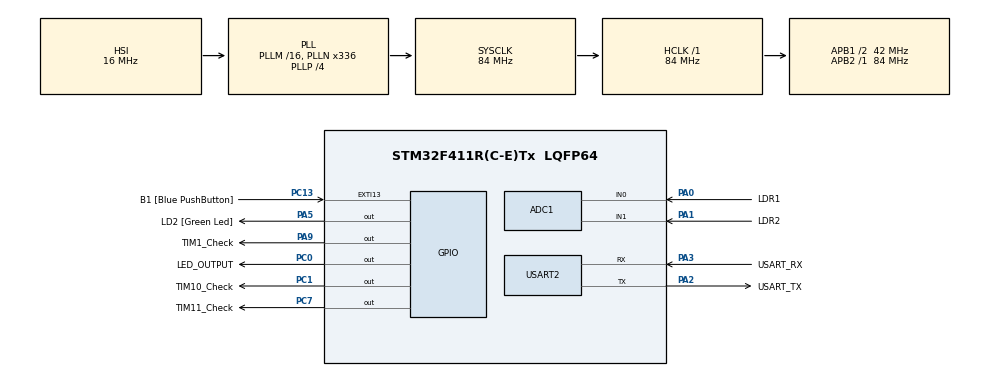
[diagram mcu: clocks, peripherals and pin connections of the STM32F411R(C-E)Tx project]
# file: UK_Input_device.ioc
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ADC1.Channel-0\#ChannelRegularConversion=ADC_CHANNEL_0
ADC1.Channel-1\#ChannelRegularConversion=ADC_CHANNEL_1
ADC1.ContinuousConvMode=ENABLE
ADC1.DMAContinuousRequests=ENABLE
ADC1.DiscontinuousConvMode=DISABLE
ADC1.NbrOfConversion=2
ADC1.NbrOfConversionFlag=1
ADC1.Rank-0\#ChannelRegularConversion=1
ADC1.Rank-1\#ChannelRegularConversion=2
ADC1.SamplingTime-0\#ChannelRegularConversion=ADC_SAMPLETIME_144CYCLES
ADC1.SamplingTime-1\#ChannelRegularConversion=ADC_SAMPLETIME_144CYCLES
ADC1.ScanConvMode=ENABLE
ADC1.master=1
Dma.ADC1.0.Direction=DMA_PERIPH_TO_MEMORY
Dma.ADC1.0.FIFOMode=DMA_FIFOMODE_DISABLE
Dma.ADC1.0.Instance=DMA2_Stream0
Dma.ADC1.0.MemDataAlignment=DMA_MDATAALIGN_HALFWORD
Dma.ADC1.0.MemInc=DMA_MINC_ENABLE
Dma.ADC1.0.Mode=DMA_CIRCULAR
Dma.ADC1.0.PeriphDataAlignment=DMA_PDATAALIGN_HALFWORD
Dma.ADC1.0.PeriphInc=DMA_PINC_DISABLE
Dma.ADC1.0.Priority=DMA_PRIORITY_LOW
Dma.Request0=ADC1
Mcu.Family=STM32F4
Mcu.Name=STM32F411R(C-E)Tx
Mcu.Package=LQFP64
NVIC.DMA2_Stream0_IRQn=true\:0\:0\:false\:false\:true\:false\:true\:true
NVIC.PriorityGroup=NVIC_PRIORITYGROUP_0
NVIC.TIM1_TRG_COM_TIM11_IRQn=true\:0\:0\:false\:false\:true\:true\:true\:true
NVIC.TIM1_UP_TIM10_IRQn=true\:0\:0\:false\:false\:true\:true\:true\:true
PA0-WKUP.GPIO_Label=LDR1
PA0-WKUP.Signal=ADCx_IN0
PA1.GPIO_Label=LDR2
PA1.Signal=ADCx_IN1
PA13.GPIO_Label=TMS
PA13.Signal=SYS_JTMS-SWDIO
PA14.GPIO_Label=TCK
PA14.Signal=SYS_JTCK-SWCLK
PA2.GPIO_Label=USART_TX
PA2.Mode=Asynchronous
PA2.Signal=USART2_TX
PA3.GPIO_Label=USART_RX
PA3.Mode=Asynchronous
PA3.Signal=USART2_RX
PA5.GPIO_Label=LD2 [Green Led]
PA5.Signal=GPIO_Output
PA9.GPIO_Label=TIM1_Check
PA9.Signal=GPIO_Output
PB3.GPIO_Label=SWO
PB3.Signal=SYS_JTDO-SWO
PC0.GPIO_Label=LED_OUTPUT
PC0.GPIO_PuPd=GPIO_PULLUP
PC0.Signal=GPIO_Output
PC1.GPIO_Label=TIM10_Check
PC1.Signal=GPIO_Output
PC13-ANTI_TAMP.GPIO_Label=B1 [Blue PushButton]
PC13-ANTI_TAMP.GPIO_ModeDefaultEXTI=GPIO_MODE_IT_FALLING
PC13-ANTI_TAMP.Signal=GPXTI13
PC14-OSC32_IN.Signal=RCC_OSC32_IN
PC15-OSC32_OUT.Signal=RCC_OSC32_OUT
PC7.GPIO_Label=TIM11_Check
PC7.Signal=GPIO_Output
PH0\ -\ OSC_IN.Signal=RCC_OSC_IN
PH1\ -\ OSC_OUT.Signal=RCC_OSC_OUT
ProjectManager.HeapSize=0x200
ProjectManager.StackSize=0x400
ProjectManager.TargetToolchain=STM32CubeIDE
RCC.48MHZClocksFreq_Value=84000000
RCC.AHBFreq_Value=84000000
RCC.APB1CLKDivider=RCC_HCLK_DIV2
RCC.APB1Freq_Value=42000000
RCC.APB1TimFreq_Value=84000000
RCC.APB2Freq_Value=84000000
RCC.APB2TimFreq_Value=84000000
RCC.CortexFreq_Value=84000000
RCC.FLatency-AdvancedSettings=FLASH_LATENCY_2
RCC.HCLKFreq_Value=84000000
RCC.HSE_VALUE=8000000
RCC.HSI_VALUE=16000000
RCC.LSE_VALUE=32768
RCC.PLLN=336
RCC.PLLP=RCC_PLLP_DIV4
RCC.SYSCLKFreq_VALUE=84000000
RCC.SYSCLKSource=RCC_SYSCLKSOURCE_PLLCLK
RCC.VCOOutputFreq_Value=336000000
SH.ADCx_IN0.0=ADC1_IN0,IN0
SH.ADCx_IN1.0=ADC1_IN1,IN1
TIM1.Period=50
TIM1.Prescaler=8400
TIM10.Period=100
TIM10.Prescaler=8400
TIM11.Period=20
TIM11.Prescaler=8400
USART2.VirtualMode=VM_ASYNC
VP_TIM10_VS_ClockSourceINT.Mode=Enable_Timer
VP_TIM11_VS_ClockSourceINT.Mode=Enable_Timer
VP_TIM1_VS_ClockSourceINT.Mode=Internal
board=NUCLEO-F411RE

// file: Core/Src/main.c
/* USER CODE BEGIN Header */
/**
 ******************************************************************************
 * @file           : main.c
 * @brief          : Main program body
 ******************************************************************************
 * @attention
 *
 * Copyright (c) 2022 STMicroelectronics.
 * All rights reserved.
 *
 * This software is licensed under terms that can be found in the LICENSE file
 * in the root directory of this software component.
 * If no LICENSE file comes with this software, it is provided AS-IS.
 *
 ******************************************************************************
 */
/* USER CODE END Header */
#include "main.h"

/* USER CODE BEGIN Includes */
#include <math.h>
#include <stdio.h>
#include <string.h>
/* USER CODE END Includes */

ADC_HandleTypeDef hadc1;
DMA_HandleTypeDef hdma_adc1;

TIM_HandleTypeDef htim1;
TIM_HandleTypeDef htim10;
TIM_HandleTypeDef htim11;

UART_HandleTypeDef huart2;

/* USER CODE BEGIN PV */
//Gloval Vaiable
#define WINDOW 2

//Sensor variable for ADC_DMA
uint16_t ldr[2] = { 0, };
//Sensor variable
int on1_sum = 0, on2_sum = 0; //when led on
int off1_sum = 0, off2_sum = 0; //when led off
int on1_avg = 0, on2_avg = 0;
int off1_avg = 0, off2_avg = 0;
//force variable
int diff = 0, ldr1dif = 0, ldr2dif = 0;
int min = 0, max = 0;
//Flag variable
short flag_10ms = 0, flag_5ms = 0, flag_1ms = 0, odd = 0;
int count = 0;
/* USER CODE END PV */

void SystemClock_Config(void);
static void MX_GPIO_Init(void);
static void MX_DMA_Init(void);
static void MX_ADC1_Init(void);
static void MX_TIM10_Init(void);
static void MX_TIM11_Init(void);
static void MX_USART2_UART_Init(void);
static void MX_TIM1_Init(void);

/* USER CODE BEGIN 0 */
static void tx_com(uint8_t *tx_buffer, uint16_t len) {
	HAL_UART_Transmit(&huart2, tx_buffer, len, 100);
}
static uint8_t tx_buffer[100];

void HAL_TIM_PeriodElapsedCallback(TIM_HandleTypeDef *htim) {
	if (htim->Instance == TIM10) //10ms Timer. If elapsed 10ms this timer change status of LED
	{
		flag_10ms = 1;
		/*if(HAL_GPIO_ReadPin(GPIOC, TIM10_Check_Pin)==0){
		 HAL_GPIO_WritePin(GPIOC, TIM10_Check_Pin, SET);
		 }else{
		 HAL_GPIO_WritePin(GPIOC, TIM10_Check_Pin, RESET);
		 }*/ //Test loop for timer period
	}

	if (htim->Instance == TIM1) //5ms timer
	{
		odd++; //identify odd
		if (odd % 2 == 1) {
			flag_5ms = 1;
			odd = 0;
		}
		/*if (HAL_GPIO_ReadPin(GPIOA, TIM1_Check_Pin) == 0) {
		 HAL_GPIO_WritePin(GPIOA, TIM1_Check_Pin, SET);
		 } else {
		 HAL_GPIO_WritePin(GPIOA, TIM1_Check_Pin, RESET);
		 } */ //Test loop for timer period
	}
	if (htim->Instance == TIM11) //1ms timer
	{
		flag_1ms = 1;
		/*		if(HAL_GPIO_ReadPin(GPIOC, TIM11_Check_Pin)==0){
		 HAL_GPIO_WritePin(GPIOC, TIM11_Check_Pin, SET);
		 }else{
		 HAL_GPIO_WritePin(GPIOC, TIM11_Check_Pin, RESET);
		 }*/ //Test loop for timer period
	}
}
/* USER CODE END 0 */

int main(void) {

	/* MCU Configuration--------------------------------------------------------*/

	/* Reset of all peripherals, Initializes the Flash interface and the Systick. */
	HAL_Init();

	/* Configure the system clock */
	SystemClock_Config();

	/* Initialize all configured peripherals */
	MX_GPIO_Init();
	MX_DMA_Init();
	MX_ADC1_Init();
	MX_TIM10_Init();
	MX_TIM11_Init();
	MX_USART2_UART_Init();
	MX_TIM1_Init();
	/* USER CODE BEGIN 2 */
	HAL_ADC_Start_DMA(&hadc1, ldr, 2);
//TIM Init
	HAL_TIM_Base_Start_IT(&htim10);
	HAL_TIM_Base_Start_IT(&htim1);
	HAL_TIM_Base_Start_IT(&htim11);
	min = diff;
	max = diff;
	/* USER CODE END 2 */

	/* Infinite loop */
	/* USER CODE BEGIN WHILE */
	while (1) {
		if (flag_10ms == 1) {
			flag_10ms = 0;
			on1_avg = on1_sum / WINDOW;
			on2_avg = on2_sum / WINDOW;
			off1_avg = off1_sum / WINDOW;
			off2_avg = off2_sum / WINDOW;
			if (HAL_GPIO_ReadPin(GPIOC, LED_OUTPUT_Pin) == 1) {
				count = 0;
				HAL_GPIO_WritePin(GPIOC, LED_OUTPUT_Pin, RESET);
				off1_sum = 0;
				off2_sum = 0;
			} else {
				count = 0;
				HAL_GPIO_WritePin(GPIOC, LED_OUTPUT_Pin, SET);
				on1_sum = 0;
				on2_sum = 0;
			}
			ldr1dif = on1_avg - off1_avg;
			ldr2dif = on2_avg - off2_avg;
			diff = sqrt(pow(ldr1dif, 2) + pow(ldr2dif, 2));
			max = max < diff ? diff : max;
			min = min > diff ? diff : min;
			sprintf((char*) tx_buffer, "%d,%d,%d,%d \r\n", on1_avg, off1_avg,
					on2_avg, off2_avg);
			tx_com(tx_buffer, strlen((char const*) tx_buffer));
		}
		if (flag_5ms == 1 && flag_1ms == 1) {
			if (count < WINDOW) {
				if (HAL_GPIO_ReadPin(GPIOC, LED_OUTPUT_Pin) == 1) { //count is less than WINDOW if count is upper than WINDOW this loop will not act.
					count++;
					on1_sum += ldr[0];
					on2_sum += ldr[1];
				} else if (HAL_GPIO_ReadPin(GPIOC, LED_OUTPUT_Pin) == 0) {
					count++;
					off1_sum += ldr[0];
					off2_sum += ldr[1];
				}
				flag_1ms = 0;
			} else if (count == WINDOW) { //If reached setting value for count
				flag_5ms = 0;
			}
		}
		/* USER CODE END WHILE */

	}
}

void SystemClock_Config(void) {
	RCC_OscInitTypeDef RCC_OscInitStruct = { 0 };
	RCC_ClkInitTypeDef RCC_ClkInitStruct = { 0 };

	/** Configure the main internal regulator output voltage
	 */
	__HAL_RCC_PWR_CLK_ENABLE();
	__HAL_PWR_VOLTAGESCALING_CONFIG(PWR_REGULATOR_VOLTAGE_SCALE1);

	/** Initializes the RCC Oscillators according to the specified parameters
	 * in the RCC_OscInitTypeDef structure.
	 */
	RCC_OscInitStruct.OscillatorType = RCC_OSCILLATORTYPE_HSI;
	RCC_OscInitStruct.HSIState = RCC_HSI_ON;
	RCC_OscInitStruct.HSICalibrationValue = RCC_HSICALIBRATION_DEFAULT;
	RCC_OscInitStruct.PLL.PLLState = RCC_PLL_ON;
	RCC_OscInitStruct.PLL.PLLSource = RCC_PLLSOURCE_HSI;
	RCC_OscInitStruct.PLL.PLLM = 16;
	RCC_OscInitStruct.PLL.PLLN = 336;
	RCC_OscInitStruct.PLL.PLLP = RCC_PLLP_DIV4;
	RCC_OscInitStruct.PLL.PLLQ = 4;
	if (HAL_RCC_OscConfig(&RCC_OscInitStruct) != HAL_OK) {
		Error_Handler();
	}

	/** Initializes the CPU, AHB and APB buses clocks
	 */
	RCC_ClkInitStruct.ClockType = RCC_CLOCKTYPE_HCLK | RCC_CLOCKTYPE_SYSCLK
			| RCC_CLOCKTYPE_PCLK1 | RCC_CLOCKTYPE_PCLK2;
	RCC_ClkInitStruct.SYSCLKSource = RCC_SYSCLKSOURCE_PLLCLK;
	RCC_ClkInitStruct.AHBCLKDivider = RCC_SYSCLK_DIV1;
	RCC_ClkInitStruct.APB1CLKDivider = RCC_HCLK_DIV2;
	RCC_ClkInitStruct.APB2CLKDivider = RCC_HCLK_DIV1;

	if (HAL_RCC_ClockConfig(&RCC_ClkInitStruct, FLASH_LATENCY_2) != HAL_OK) {
		Error_Handler();
	}
}

static void MX_ADC1_Init(void) {

	ADC_ChannelConfTypeDef sConfig = { 0 };

	/** Configure the global features of the ADC (Clock, Resolution, Data Alignment and number of conversion)
	 */
	hadc1.Instance = ADC1;
	hadc1.Init.ClockPrescaler = ADC_CLOCK_SYNC_PCLK_DIV4;
	hadc1.Init.Resolution = ADC_RESOLUTION_12B;
	hadc1.Init.ScanConvMode = ENABLE;
	hadc1.Init.ContinuousConvMode = ENABLE;
	hadc1.Init.DiscontinuousConvMode = DISABLE;
	hadc1.Init.ExternalTrigConvEdge = ADC_EXTERNALTRIGCONVEDGE_NONE;
	hadc1.Init.ExternalTrigConv = ADC_SOFTWARE_START;
	hadc1.Init.DataAlign = ADC_DATAALIGN_RIGHT;
	hadc1.Init.NbrOfConversion = 2;
	hadc1.Init.DMAContinuousRequests = ENABLE;
	hadc1.Init.EOCSelection = ADC_EOC_SINGLE_CONV;
	if (HAL_ADC_Init(&hadc1) != HAL_OK) {
		Error_Handler();
	}

	/** Configure for the selected ADC regular channel its corresponding rank in the sequencer and its sample time.
	 */
	sConfig.Channel = ADC_CHANNEL_0;
	sConfig.Rank = 1;
	sConfig.SamplingTime = ADC_SAMPLETIME_144CYCLES;
	if (HAL_ADC_ConfigChannel(&hadc1, &sConfig) != HAL_OK) {
		Error_Handler();
	}

	/** Configure for the selected ADC regular channel its corresponding rank in the sequencer and its sample time.
	 */
	sConfig.Channel = ADC_CHANNEL_1;
	sConfig.Rank = 2;
	if (HAL_ADC_ConfigChannel(&hadc1, &sConfig) != HAL_OK) {
		Error_Handler();
	}

}

static void MX_TIM1_Init(void) {

	TIM_ClockConfigTypeDef sClockSourceConfig = { 0 };
	TIM_MasterConfigTypeDef sMasterConfig = { 0 };

	htim1.Instance = TIM1;
	htim1.Init.Prescaler = 8400;
	htim1.Init.CounterMode = TIM_COUNTERMODE_UP;
	htim1.Init.Period = 50;
	htim1.Init.ClockDivision = TIM_CLOCKDIVISION_DIV1;
	htim1.Init.RepetitionCounter = 0;
	htim1.Init.AutoReloadPreload = TIM_AUTORELOAD_PRELOAD_DISABLE;
	if (HAL_TIM_Base_Init(&htim1) != HAL_OK) {
		Error_Handler();
	}
	sClockSourceConfig.ClockSource = TIM_CLOCKSOURCE_INTERNAL;
	if (HAL_TIM_ConfigClockSource(&htim1, &sClockSourceConfig) != HAL_OK) {
		Error_Handler();
	}
	sMasterConfig.MasterOutputTrigger = TIM_TRGO_RESET;
	sMasterConfig.MasterSlaveMode = TIM_MASTERSLAVEMODE_DISABLE;
	if (HAL_TIMEx_MasterConfigSynchronization(&htim1, &sMasterConfig)
			!= HAL_OK) {
		Error_Handler();
	}

}

static void MX_TIM10_Init(void) {

	htim10.Instance = TIM10;
	htim10.Init.Prescaler = 8400;
	htim10.Init.CounterMode = TIM_COUNTERMODE_UP;
	htim10.Init.Period = 100;
	htim10.Init.ClockDivision = TIM_CLOCKDIVISION_DIV1;
	htim10.Init.AutoReloadPreload = TIM_AUTORELOAD_PRELOAD_DISABLE;
	if (HAL_TIM_Base_Init(&htim10) != HAL_OK) {
		Error_Handler();
	}

}

static void MX_TIM11_Init(void) {

	htim11.Instance = TIM11;
	htim11.Init.Prescaler = 8400;
	htim11.Init.CounterMode = TIM_COUNTERMODE_UP;
	htim11.Init.Period = 20;
	htim11.Init.ClockDivision = TIM_CLOCKDIVISION_DIV1;
	htim11.Init.AutoReloadPreload = TIM_AUTORELOAD_PRELOAD_DISABLE;
	if (HAL_TIM_Base_Init(&htim11) != HAL_OK) {
		Error_Handler();
	}

}

static void MX_USART2_UART_Init(void) {

	huart2.Instance = USART2;
	huart2.Init.BaudRate = 115200;
	huart2.Init.WordLength = UART_WORDLENGTH_8B;
	huart2.Init.StopBits = UART_STOPBITS_1;
	huart2.Init.Parity = UART_PARITY_NONE;
	huart2.Init.Mode = UART_MODE_TX_RX;
	huart2.Init.HwFlowCtl = UART_HWCONTROL_NONE;
	huart2.Init.OverSampling = UART_OVERSAMPLING_16;
	if (HAL_UART_Init(&huart2) != HAL_OK) {
		Error_Handler();
	}

}

static void MX_DMA_Init(void) {

	/* DMA controller clock enable */
	__HAL_RCC_DMA2_CLK_ENABLE();

	/* DMA interrupt init */
	/* DMA2_Stream0_IRQn interrupt configuration */
	HAL_NVIC_SetPriority(DMA2_Stream0_IRQn, 0, 0);
	HAL_NVIC_EnableIRQ(DMA2_Stream0_IRQn);

}

static void MX_GPIO_Init(void) {
	GPIO_InitTypeDef GPIO_InitStruct = { 0 };

	/* GPIO Ports Clock Enable */
	__HAL_RCC_GPIOC_CLK_ENABLE();
	__HAL_RCC_GPIOH_CLK_ENABLE();
	__HAL_RCC_GPIOA_CLK_ENABLE();
	__HAL_RCC_GPIOB_CLK_ENABLE();

	/*Configure GPIO pin Output Level */
	HAL_GPIO_WritePin(GPIOC, LED_OUTPUT_Pin | TIM10_Check_Pin | TIM11_Check_Pin,
			GPIO_PIN_RESET);

	/*Configure GPIO pin Output Level */
	HAL_GPIO_WritePin(GPIOA, LD2_Pin | TIM1_Check_Pin, GPIO_PIN_RESET);

	/*Configure GPIO pin : B1_Pin */
	GPIO_InitStruct.Pin = B1_Pin;
	GPIO_InitStruct.Mode = GPIO_MODE_IT_FALLING;
	GPIO_InitStruct.Pull = GPIO_NOPULL;
	HAL_GPIO_Init(B1_GPIO_Port, &GPIO_InitStruct);

	/*Configure GPIO pin : LED_OUTPUT_Pin */
	GPIO_InitStruct.Pin = LED_OUTPUT_Pin;
	GPIO_InitStruct.Mode = GPIO_MODE_OUTPUT_PP;
	GPIO_InitStruct.Pull = GPIO_PULLUP;
	GPIO_InitStruct.Speed = GPIO_SPEED_FREQ_LOW;
	HAL_GPIO_Init(LED_OUTPUT_GPIO_Port, &GPIO_InitStruct);

	/*Configure GPIO pins : TIM10_Check_Pin TIM11_Check_Pin */
	GPIO_InitStruct.Pin = TIM10_Check_Pin | TIM11_Check_Pin;
	GPIO_InitStruct.Mode = GPIO_MODE_OUTPUT_PP;
	GPIO_InitStruct.Pull = GPIO_NOPULL;
	GPIO_InitStruct.Speed = GPIO_SPEED_FREQ_LOW;
	HAL_GPIO_Init(GPIOC, &GPIO_InitStruct);

	/*Configure GPIO pins : LD2_Pin TIM1_Check_Pin */
	GPIO_InitStruct.Pin = LD2_Pin | TIM1_Check_Pin;
	GPIO_InitStruct.Mode = GPIO_MODE_OUTPUT_PP;
	GPIO_InitStruct.Pull = GPIO_NOPULL;
	GPIO_InitStruct.Speed = GPIO_SPEED_FREQ_LOW;
	HAL_GPIO_Init(GPIOA, &GPIO_InitStruct);

}

void Error_Handler(void) {
	__disable_irq();
	while (1) {
	}
}
